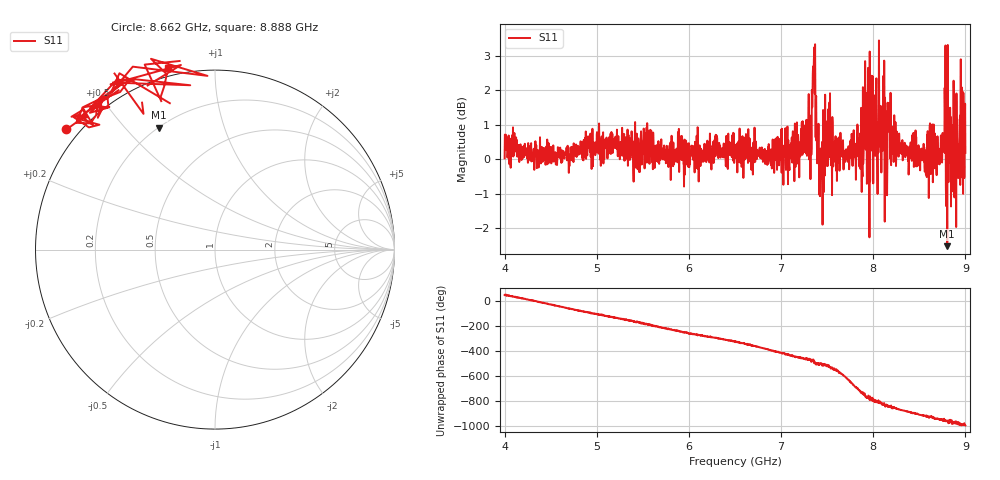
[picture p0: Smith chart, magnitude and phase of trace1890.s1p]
! Created with skrf 1.8.0 (http://scikit-rf.org).
# Hz S RI R 50.0
!freq ReS11 ImS11
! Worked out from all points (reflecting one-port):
!   1601 points, 4 GHz to 9 GHz, reference 50 ohm
!   lowest |S11| = -2.5 dB at 8.803 GHz (marker M1), VSWR 6.92, Z = 10.1 + j31.2 ohm
!   phase of S11 starts at 50 deg and turns -1049 deg over the sweep
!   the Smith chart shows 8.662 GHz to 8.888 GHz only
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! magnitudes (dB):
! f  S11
! 4 GHz  0.0
! 4.625 GHz  -0.1
! 5.25 GHz  0.0
! 5.875 GHz  -0.1
! 6.5 GHz  0.4
! 7.125 GHz  0.6
! 7.306 GHz  0.7
! 7.359 GHz  3.1
! 7.381 GHz  1.8
! 7.4 GHz  0.4
! 7.428 GHz  -0.1
! 7.512 GHz  1.5
! 7.591 GHz  0.7
! 7.75 GHz  0.0
! 7.859 GHz  0.8
! 7.928 GHz  0.9
! 7.941 GHz  1.1
! 7.962 GHz  3.1
! 8.022 GHz  0.1
! 8.097 GHz  0.2
! 8.216 GHz  1.0
! 8.375 GHz  0.2
! 8.725 GHz  0.3
! 8.759 GHz  0.2
! 8.803 GHz  -2.5
! 8.919 GHz  -0.5
! 8.972 GHz  0.5
! 9 GHz  0.2
